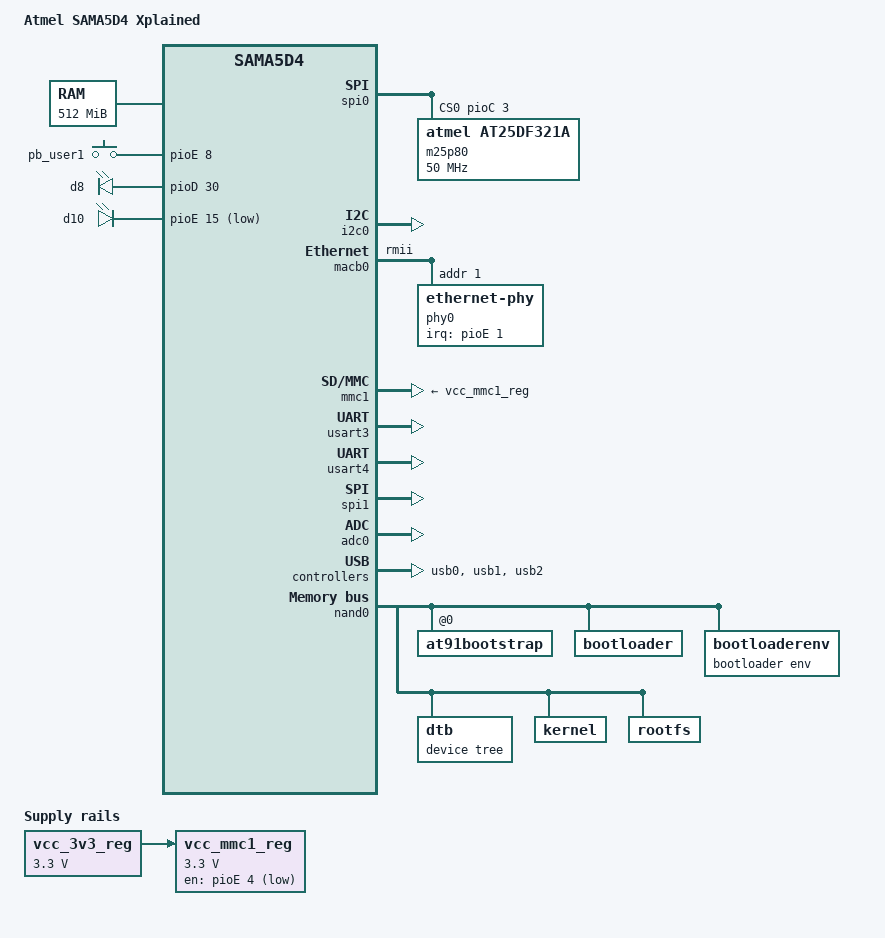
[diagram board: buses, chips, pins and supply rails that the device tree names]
/*
 * at91-sama5d4_xplained.dts - Device Tree file for SAMA5D4 Xplained board
 *
 *  Copyright (C) 2015 Atmel,
 *                2015 Josh Wu <josh.wu@atmel.com>
 *
 * This file is dual-licensed: you can use it either under the terms
 * of the GPL or the X11 license, at your option. Note that this dual
 * licensing only applies to this file, and not this project as a
 * whole.
 *
 *  a) This file is free software; you can redistribute it and/or
 *     modify it under the terms of the GNU General Public License as
 *     published by the Free Software Foundation; either version 2 of the
 *     License, or (at your option) any later version.
 *
 *     This file is distributed in the hope that it will be useful,
 *     but WITHOUT ANY WARRANTY; without even the implied warranty of
 *     MERCHANTABILITY or FITNESS FOR A PARTICULAR PURPOSE.  See the
 *     GNU General Public License for more details.
 *
 * Or, alternatively,
 *
 *  b) Permission is hereby granted, free of charge, to any person
 *     obtaining a copy of this software and associated documentation
 *     files (the "Software"), to deal in the Software without
 *     restriction, including without limitation the rights to use,
 *     copy, modify, merge, publish, distribute, sublicense, and/or
 *     sell copies of the Software, and to permit persons to whom the
 *     Software is furnished to do so, subject to the following
 *     conditions:
 *
 *     The above copyright notice and this permission notice shall be
 *     included in all copies or substantial portions of the Software.
 *
 *     THE SOFTWARE IS PROVIDED "AS IS", WITHOUT WARRANTY OF ANY KIND,
 *     EXPRESS OR IMPLIED, INCLUDING BUT NOT LIMITED TO THE WARRANTIES
 *     OF MERCHANTABILITY, FITNESS FOR A PARTICULAR PURPOSE AND
 *     NONINFRINGEMENT. IN NO EVENT SHALL THE AUTHORS OR COPYRIGHT
 *     HOLDERS BE LIABLE FOR ANY CLAIM, DAMAGES OR OTHER LIABILITY,
 *     WHETHER IN AN ACTION OF CONTRACT, TORT OR OTHERWISE, ARISING
 *     FROM, OUT OF OR IN CONNECTION WITH THE SOFTWARE OR THE USE OR
 *     OTHER DEALINGS IN THE SOFTWARE.
 */
/dts-v1/;
#include "sama5d4.dtsi"

/ {
	model = "Atmel SAMA5D4 Xplained";
	compatible = "atmel,sama5d4-xplained", "atmel,sama5d4", "atmel,sama5";

	chosen {
		stdout-path = "serial0:115200n8";
	};

	memory {
		reg = <0x20000000 0x20000000>;
	};

	clocks {
		slow_xtal {
			clock-frequency = <32768>;
		};

		main_xtal {
			clock-frequency = <12000000>;
		};
	};

	ahb {
		apb {
			spi0: spi@f8010000 {
				cs-gpios = <&pioC 3 0>, <0>, <0>, <0>;
				status = "okay";
				m25p80@0 {
					compatible = "atmel,at25df321a";
					spi-max-frequency = <50000000>;
					reg = <0>;
				};
			};

			i2c0: i2c@f8014000 {
				status = "okay";
			};

			macb0: ethernet@f8020000 {
				phy-mode = "rmii";
				status = "okay";
				pinctrl-names = "default";
				pinctrl-0 = <&pinctrl_macb0_rmii &pinctrl_macb0_phy_irq>;

				phy0: ethernet-phy@1 {
					interrupt-parent = <&pioE>;
					interrupts = <1 IRQ_TYPE_LEVEL_LOW>;
					reg = <1>;
				};
			};

			mmc1: mmc@fc000000 {
				pinctrl-names = "default";
				pinctrl-0 = <&pinctrl_mmc1_clk_cmd_dat0 &pinctrl_mmc1_dat1_3 &pinctrl_mmc1_cd>;
				vmmc-supply = <&vcc_mmc1_reg>;
				vqmmc-supply = <&vcc_3v3_reg>;
				status = "okay";
				slot@0 {
					reg = <0>;
					bus-width = <4>;
					cd-gpios = <&pioE 3 0>;
				};
			};

			usart3: serial@fc00c000 {
				status = "okay";
			};

			usart4: serial@fc010000 {
				status = "okay";
			};

			spi1: spi@fc018000 {
				cs-gpios = <&pioB 21 0>;
				status = "okay";
			};

			adc0: adc@fc034000 {
				pinctrl-names = "default";
				pinctrl-0 = <
					/* external trigger conflicts with USBA_VBUS */
					&pinctrl_adc0_ad0
					&pinctrl_adc0_ad1
					&pinctrl_adc0_ad2
					&pinctrl_adc0_ad3
					&pinctrl_adc0_ad4
					>;
				atmel,adc-vref = <3300>;
				status = "okay";
			};

			watchdog@fc068640 {
				status = "okay";
			};

			pinctrl@fc06a000 {
				board {
					pinctrl_mmc1_cd: mmc1_cd {
						atmel,pins =
							<AT91_PIOE 3 AT91_PERIPH_GPIO AT91_PINCTRL_PULL_UP_DEGLITCH>;
					};
					pinctrl_usba_vbus: usba_vbus {
						atmel,pins =
							<AT91_PIOE 31 AT91_PERIPH_GPIO AT91_PINCTRL_DEGLITCH>;
					};
					pinctrl_key_gpio: key_gpio_0 {
						atmel,pins =
							<AT91_PIOE 8 AT91_PERIPH_GPIO AT91_PINCTRL_PULL_UP_DEGLITCH>;
					};
					pinctrl_macb0_phy_irq: macb0_phy_irq_0 {
						atmel,pins =
							<AT91_PIOE 1 AT91_PERIPH_GPIO AT91_PINCTRL_PULL_UP_DEGLITCH>;
					};
				};
			};
		};

		usb0: gadget@00400000 {
			atmel,vbus-gpio = <&pioE 31 GPIO_ACTIVE_HIGH>;
			pinctrl-names = "default";
			pinctrl-0 = <&pinctrl_usba_vbus>;
			status = "okay";
		};

		usb1: ohci@00500000 {
			num-ports = <3>;
			atmel,vbus-gpio = <0
					   &pioE 11 GPIO_ACTIVE_HIGH
					   &pioE 14 GPIO_ACTIVE_HIGH
					  >;
			status = "okay";
		};

		usb2: ehci@00600000 {
			status = "okay";
		};

		nand0: nand@80000000 {
			nand-bus-width = <8>;
			nand-ecc-mode = "hw";
			nand-on-flash-bbt;
			atmel,has-pmecc;
			status = "okay";

			at91bootstrap@0 {
				label = "at91bootstrap";
				reg = <0x0 0x40000>;
			};

			bootloader@40000 {
				label = "bootloader";
				reg = <0x40000 0x80000>;
			};

			bootloaderenv@c0000 {
				label = "bootloader env";
				reg = <0xc0000 0xc0000>;
			};

			dtb@180000 {
				label = "device tree";
				reg = <0x180000 0x80000>;
			};

			kernel@200000 {
				label = "kernel";
				reg = <0x200000 0x600000>;
			};

			rootfs@800000 {
				label = "rootfs";
				reg = <0x800000 0x0f800000>;
			};
		};
	};

	gpio_keys {
		compatible = "gpio-keys";

		pinctrl-names = "default";
		pinctrl-0 = <&pinctrl_key_gpio>;

		pb_user1 {
			label = "pb_user1";
			gpios = <&pioE 8 GPIO_ACTIVE_HIGH>;
			linux,code = <0x100>;
			wakeup-source;
		};
	};

	leds {
		compatible = "gpio-leds";
		status = "okay";

		d8 {
			label = "d8";
			gpios = <&pioD 30 GPIO_ACTIVE_HIGH>;
			default-state = "on";
		};

		d10 {
			label = "d10";
			gpios = <&pioE 15 GPIO_ACTIVE_LOW>;
			linux,default-trigger = "heartbeat";
		};
	};

	vcc_3v3_reg: fixedregulator_3v3 {
		compatible = "regulator-fixed";
		regulator-name = "VCC 3V3";
		regulator-min-microvolt = <3300000>;
		regulator-max-microvolt = <3300000>;
		regulator-boot-on;
		regulator-always-on;
	};

	vcc_mmc1_reg: fixedregulator_mmc1 {
		compatible = "regulator-fixed";
		gpio = <&pioE 4 GPIO_ACTIVE_LOW>;
		regulator-name = "VDD MCI1";
		regulator-min-microvolt = <3300000>;
		regulator-max-microvolt = <3300000>;
		vin-supply = <&vcc_3v3_reg>;
		regulator-always-on;
	};
};
